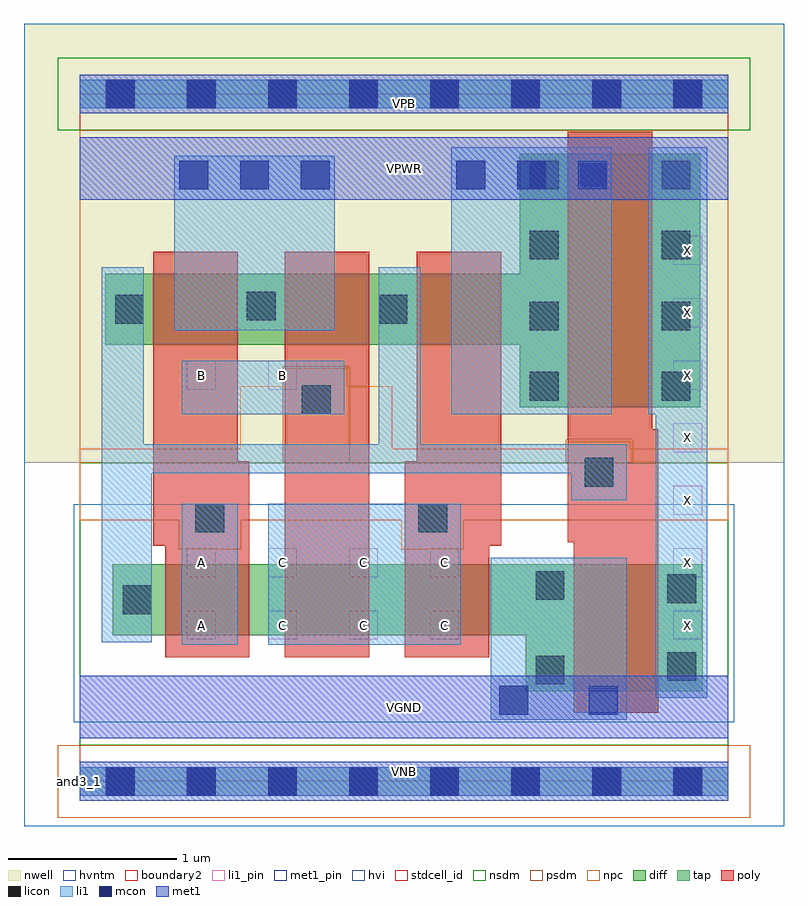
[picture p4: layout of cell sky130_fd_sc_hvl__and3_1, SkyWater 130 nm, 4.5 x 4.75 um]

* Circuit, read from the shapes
.subckt sky130_fd_sc_hvl__and3_1 A B C VGND VNB VPB VPWR X
XM1 n1 A n2 VNB sky130_fd_pr__nfet_g5v0d10v5 w=0.42 l=0.5
XM2 n3 B n1 VNB sky130_fd_pr__nfet_g5v0d10v5 w=0.42 l=0.5
XM3 VGND C n3 VNB sky130_fd_pr__nfet_g5v0d10v5 w=0.42 l=0.5
XM4 X n2 VGND VNB sky130_fd_pr__nfet_g5v0d10v5 w=0.75 l=0.5
XM5 VPWR A n2 VPB sky130_fd_pr__pfet_g5v0d10v5 w=0.42 l=0.5
XM6 n2 B VPWR VPB sky130_fd_pr__pfet_g5v0d10v5 w=0.42 l=0.5
XM7 VPWR C n2 VPB sky130_fd_pr__pfet_g5v0d10v5 w=0.42 l=0.5
XM8 X n2 VPWR VPB sky130_fd_pr__pfet_g5v0d10v5 w=1.5 l=0.5
.ends

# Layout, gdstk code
import gdstk
lib = gdstk.Library(unit=1e-6, precision=1e-09)
def R(c, l, rs):  # rectangles x0, y0, x1, y1
    for r in rs: c.add(gdstk.rectangle(r[:2], r[2:], *l))
def A(c, l, x, y, w, h, nx, ny, dx, dy):  # array of equal rectangles
    R(c, l, [(x+i*dx, y+j*dy, x+i*dx+w, y+j*dy+h) for i in range(nx) for j in range(ny)])
def P(c, l, *ps):  # polygons
    for p in ps: c.add(gdstk.Polygon(p, *l))
nwell = (64, 20)
diff = (65, 20)
tap = (65, 44)
poly = (66, 20)
licon = (66, 44)
li1_pin = (67, 16)
li1 = (67, 20)
mcon = (67, 44)
met1_pin = (68, 16)
met1 = (68, 20)
hvi = (75, 20)
stdcell_id = (81, 4)
nsdm = (93, 44)
psdm = (94, 20)
npc = (95, 20)
hvntm = (125, 20)
boundary2 = (236, 0)

sky130_fd_sc_hvl__and3_1 = lib.new_cell('sky130_fd_sc_hvl__and3_1')
R(sky130_fd_sc_hvl__and3_1, nwell, [(-0.33,1.885,4.17,4.485)])
P(sky130_fd_sc_hvl__and3_1, diff, [(2.605,2.215),(2.605,2.585),(0.15,2.585),(0.15,3.005),(2.605,3.005),(2.605,3.715),(3.675,3.715),(3.675,2.215)],
  [(2.64,0.535),(2.64,0.865),(0.195,0.865),(0.195,1.285),(3.69,1.285),(3.69,0.535)])
R(sky130_fd_sc_hvl__and3_1, tap, [(0,-0.085,3.84,0.085), (0,3.985,3.84,4.155)])
R(sky130_fd_sc_hvl__and3_1, poly, [(1.215,0.735,1.715,3.135)])
P(sky130_fd_sc_hvl__and3_1, poly, [(0.505,0.735),(0.505,1.395),(0.435,1.395),(0.435,3.135),(0.935,3.135),(0.935,1.895),(1.005,1.895),(1.005,0.735)],
  [(1.925,0.735),(1.925,1.895),(1.995,1.895),(1.995,3.135),(2.495,3.135),(2.495,1.395),(2.425,1.395),(2.425,0.735)],
  [(2.925,0.405),(2.925,1.415),(2.89,1.415),(2.89,3.845),(3.39,3.845),(3.39,2.085),(3.425,2.085),(3.425,0.405)])
A(sky130_fd_sc_hvl__and3_1, licon, 0.155, -0.085, 0.17, 0.17, 8, 2, 0.48, 4.07)
R(sky130_fd_sc_hvl__and3_1, licon, [(2.7,0.575,2.87,0.745), (3.48,0.595,3.65,0.765), (0.255,0.99,0.425,1.16), (3.48,1.055,3.65,1.225), (2.7,1.075,2.87,1.245), (0.685,1.475,0.855,1.645), (2.005,1.475,2.175,1.645), (2.99,1.745,3.16,1.915), (1.315,2.175,1.485,2.345), (2.665,2.255,2.835,2.425), (3.445,2.255,3.615,2.425), (2.665,2.67,2.835,2.84), (3.445,2.67,3.615,2.84), (0.21,2.71,0.38,2.88), (1.77,2.71,1.94,2.88), (0.99,2.73,1.16,2.9), (2.665,3.09,2.835,3.26), (3.445,3.09,3.615,3.26), (2.665,3.505,2.835,3.675), (3.445,3.505,3.615,3.675)])
A(sky130_fd_sc_hvl__and3_1, li1_pin, 0.635, 0.84, 0.17, 0.17, 4, 2, 0.48, 0.37)
A(sky130_fd_sc_hvl__and3_1, li1_pin, 3.515, 0.84, 0.17, 0.17, 1, 7, 0, 0.37)
R(sky130_fd_sc_hvl__and3_1, li1_pin, [(0.635,2.32,0.805,2.49), (1.115,2.32,1.285,2.49)])
R(sky130_fd_sc_hvl__and3_1, li1, [(0,-0.085,3.84,0.085), (2.435,0.365,3.24,1.325), (0.605,0.81,0.935,1.645), (1.115,0.81,2.255,1.645), (0.605,2.175,1.565,2.49), (2.2,2.175,3.15,3.755), (0.56,2.67,1.51,3.705), (0,3.985,3.84,4.155)])
P(sky130_fd_sc_hvl__and3_1, li1, [(0.13,0.825),(0.13,3.045),(0.38,3.045),(0.38,1.995),(1.77,1.995),(1.77,3.045),(2.02,3.045),(2.02,1.995),(3.24,1.995),(3.24,1.665),(2.91,1.665),(2.91,1.825),(0.425,1.825),(0.425,0.825)],
  [(3.41,0.495),(3.41,2.175),(3.365,2.175),(3.365,3.755),(3.715,3.755),(3.715,0.495)])
A(sky130_fd_sc_hvl__and3_1, mcon, 0.59, 3.505, 0.17, 0.17, 3, 1, 0.36, 0)
A(sky130_fd_sc_hvl__and3_1, mcon, 2.23, 3.505, 0.17, 0.17, 3, 1, 0.36, 0)
R(sky130_fd_sc_hvl__and3_1, mcon, [(0.155,-0.085,0.325,0.085), (0.155,-0.085,0.325,0.085), (0.635,-0.085,0.805,0.085), (0.635,-0.085,0.805,0.085), (1.115,-0.085,1.285,0.085), (1.115,-0.085,1.285,0.085), (1.595,-0.085,1.765,0.085), (1.595,-0.085,1.765,0.085), (2.075,-0.085,2.245,0.085), (2.075,-0.085,2.245,0.085), (2.555,-0.085,2.725,0.085), (2.555,-0.085,2.725,0.085), (3.035,-0.085,3.205,0.085), (3.035,-0.085,3.205,0.085), (3.515,-0.085,3.685,0.085), (3.515,-0.085,3.685,0.085), (2.485,0.395,2.655,0.565), (3.015,0.395,3.185,0.565), (0.155,3.985,0.325,4.155), (0.155,3.985,0.325,4.155), (0.635,3.985,0.805,4.155), (0.635,3.985,0.805,4.155), (1.115,3.985,1.285,4.155), (1.115,3.985,1.285,4.155), (1.595,3.985,1.765,4.155), (1.595,3.985,1.765,4.155), (2.075,3.985,2.245,4.155), (2.075,3.985,2.245,4.155), (2.555,3.985,2.725,4.155), (2.555,3.985,2.725,4.155), (3.035,3.985,3.205,4.155), (3.035,3.985,3.205,4.155), (3.515,3.985,3.685,4.155), (3.515,3.985,3.685,4.155)])
R(sky130_fd_sc_hvl__and3_1, met1_pin, [(0,0,3.84,0.115), (0,0.255,3.84,0.625), (0,3.445,3.84,3.815), (0,3.955,3.84,4.07)])
R(sky130_fd_sc_hvl__and3_1, met1, [(0,-0.115,3.84,0.115), (0,0.255,3.84,0.625), (0,3.445,3.84,3.815), (0,3.955,3.84,4.185)])
R(sky130_fd_sc_hvl__and3_1, hvi, [(-0.33,-0.265,4.17,4.485)])
R(sky130_fd_sc_hvl__and3_1, stdcell_id, [(0,0,3.84,4.07)])
R(sky130_fd_sc_hvl__and3_1, nsdm, [(0,0.215,3.84,1.885), (-0.13,3.855,3.97,4.285), (0,3.855,3.84,4.07)])
R(sky130_fd_sc_hvl__and3_1, psdm, [(-0.13,-0.215,3.97,0.215)])
P(sky130_fd_sc_hvl__and3_1, psdm, [(0,1.885),(0,3.855),(3.84,3.855),(3.84,1.885),(3.27,1.885),(3.27,2.025),(2.88,2.025),(2.88,1.885),(1.595,1.885),(1.595,2.455),(1.205,2.455),(1.205,1.885)])
P(sky130_fd_sc_hvl__and3_1, npc, [(0.585,1.375),(0.585,1.545),(0,1.545),(0,1.97),(0.95,1.97),(0.95,2.34),(1.215,2.34),(1.215,2.445),(1.585,2.445),(1.585,2.34),(1.85,2.34),(1.85,1.97),(2.89,1.97),(2.89,2.015),(3.26,2.015),(3.26,1.97),(3.84,1.97),(3.84,1.545),(2.275,1.545),(2.275,1.375),(1.905,1.375),(1.905,1.545),(0.955,1.545),(0.955,1.375)])
R(sky130_fd_sc_hvl__and3_1, hvntm, [(-0.035,0.35,3.875,1.64)])
R(sky130_fd_sc_hvl__and3_1, boundary2, [(0,0,3.84,4.07)])
sky130_fd_sc_hvl__and3_1.add(gdstk.Label('and3_1', (0,0), layer=83, texttype=44))
sky130_fd_sc_hvl__and3_1.add(gdstk.Label('VGND', (1.92,0.44), layer=68, texttype=5))
sky130_fd_sc_hvl__and3_1.add(gdstk.Label('VNB', (1.92,0.058), layer=68, texttype=5))
sky130_fd_sc_hvl__and3_1.add(gdstk.Label('VPWR', (1.92,3.63), layer=68, texttype=5))
sky130_fd_sc_hvl__and3_1.add(gdstk.Label('VPB', (1.92,4.013), layer=68, texttype=5))
sky130_fd_sc_hvl__and3_1.add(gdstk.Label('A', (0.72,0.925), layer=67, texttype=5))
sky130_fd_sc_hvl__and3_1.add(gdstk.Label('A', (0.72,1.295), layer=67, texttype=5))
sky130_fd_sc_hvl__and3_1.add(gdstk.Label('B', (0.72,2.405), layer=67, texttype=5))
sky130_fd_sc_hvl__and3_1.add(gdstk.Label('B', (1.2,2.405), layer=67, texttype=5))
sky130_fd_sc_hvl__and3_1.add(gdstk.Label('C', (1.2,0.925), layer=67, texttype=5))
sky130_fd_sc_hvl__and3_1.add(gdstk.Label('C', (1.2,1.295), layer=67, texttype=5))
sky130_fd_sc_hvl__and3_1.add(gdstk.Label('C', (1.68,0.925), layer=67, texttype=5))
sky130_fd_sc_hvl__and3_1.add(gdstk.Label('C', (1.68,1.295), layer=67, texttype=5))
sky130_fd_sc_hvl__and3_1.add(gdstk.Label('C', (2.16,0.925), layer=67, texttype=5))
sky130_fd_sc_hvl__and3_1.add(gdstk.Label('C', (2.16,1.295), layer=67, texttype=5))
sky130_fd_sc_hvl__and3_1.add(gdstk.Label('X', (3.6,0.925), layer=67, texttype=5))
sky130_fd_sc_hvl__and3_1.add(gdstk.Label('X', (3.6,1.295), layer=67, texttype=5))
sky130_fd_sc_hvl__and3_1.add(gdstk.Label('X', (3.6,1.665), layer=67, texttype=5))
sky130_fd_sc_hvl__and3_1.add(gdstk.Label('X', (3.6,2.035), layer=67, texttype=5))
sky130_fd_sc_hvl__and3_1.add(gdstk.Label('X', (3.6,2.405), layer=67, texttype=5))
sky130_fd_sc_hvl__and3_1.add(gdstk.Label('X', (3.6,2.775), layer=67, texttype=5))
sky130_fd_sc_hvl__and3_1.add(gdstk.Label('X', (3.6,3.145), layer=67, texttype=5))

lib.write_gds('sky130_fd_sc_hvl__and3_1.gds')
